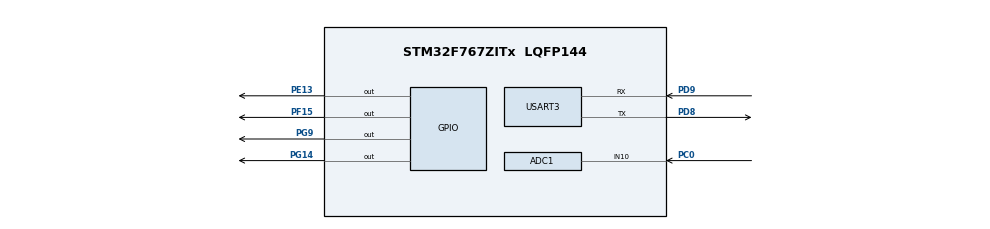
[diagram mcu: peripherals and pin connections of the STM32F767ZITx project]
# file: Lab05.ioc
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ADC1.Channel-0\#ChannelRegularConversion=ADC_CHANNEL_10
ADC1.ContinuousConvMode=ENABLE
ADC1.EOCSelection=ADC_EOC_SEQ_CONV
ADC1.NbrOfConversionFlag=1
ADC1.Rank-0\#ChannelRegularConversion=1
ADC1.SamplingTime-0\#ChannelRegularConversion=ADC_SAMPLETIME_3CYCLES
ADC1.master=1
Mcu.Family=STM32F7
Mcu.Name=STM32F767ZITx
Mcu.Package=LQFP144
NVIC.PriorityGroup=NVIC_PRIORITYGROUP_4
PC0.Signal=ADCx_IN10
PD8.Mode=Asynchronous
PD8.Signal=USART3_TX
PD9.Mode=Asynchronous
PD9.Signal=USART3_RX
PE13.Signal=GPIO_Output
PF15.Signal=GPIO_Output
PG14.Signal=GPIO_Output
PG9.Signal=GPIO_Output
ProjectManager.HeapSize=0x200
ProjectManager.StackSize=0x400
ProjectManager.TargetToolchain=STM32CubeIDE
RCC.HSE_VALUE=25000000
RCC.HSI_VALUE=16000000
RCC.LSE_VALUE=32768
RCC.USBFreq_Value=96000000
RCC.VCOOutputFreq_Value=192000000
SH.ADCx_IN10.0=ADC1_IN10,IN10
USART3.VirtualMode-Asynchronous=VM_ASYNC
board=custom

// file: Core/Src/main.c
/* USER CODE BEGIN Header */
/**
 ******************************************************************************
 * @file           : main.c
 * @brief          : Main program body
 ******************************************************************************
 * @attention
 *
 * Copyright (c) 2022 STMicroelectronics.
 * All rights reserved.
 *
 * This software is licensed under terms that can be found in the LICENSE file
 * in the root directory of this software component.
 * If no LICENSE file comes with this software, it is provided AS-IS.
 *
 ******************************************************************************
 */
/* USER CODE END Header */
#include "main.h"

/* USER CODE BEGIN Includes */
#include "stdio.h"
/* USER CODE END Includes */

ADC_HandleTypeDef hadc1;

UART_HandleTypeDef huart3;

/* USER CODE BEGIN PV */
volatile uint32_t adc_val = 0;
volatile uint32_t adc_avg_8 = 0;
volatile uint32_t adc_avg_16 = 0;
/* USER CODE END PV */

void SystemClock_Config(void);
static void MX_GPIO_Init(void);
static void MX_USART3_UART_Init(void);
static void MX_ADC1_Init(void);

/* USER CODE BEGIN 0 */
void displayHEX(uint32_t x) {
	char output[50];
	char vout[50];
	sprintf(output, "0x%08X ", x);
	sprintf(vout, "%.2f V\r\n", ((float) x * 3.3) / 4095);
	HAL_UART_Transmit(&huart3, (uint8_t*) "ADC1_CH10 ", 12, 100);
	HAL_UART_Transmit(&huart3, (uint8_t*) output, 12, 100);
	HAL_UART_Transmit(&huart3, (uint8_t*) "Vin = ", 12, 100);
	HAL_UART_Transmit(&huart3, (uint8_t*) vout, 12, 100);
	HAL_Delay(400);
}

int average_8(int x) {
	static int samples[8];
	static int i = 0;
	static int total = 0;

	total += x - samples[i];
	samples[i] = x;

	i = (i == 7 ? 0 : i + 1);

	return total >> 3;
}

int average_16(int x) {
	static int samples[16];
	static int i = 0;
	static int total = 0;

	total += x - samples[i];
	samples[i] = x;

	i = (i == 15 ? 0 : i + 1);

	return total >> 4;
}
/* USER CODE END 0 */

int main(void)
{

  /* MCU Configuration--------------------------------------------------------*/

  /* Reset of all peripherals, Initializes the Flash interface and the Systick. */
  HAL_Init();

  /* Configure the system clock */
  SystemClock_Config();

  /* Initialize all configured peripherals */
  MX_GPIO_Init();
  MX_USART3_UART_Init();
  MX_ADC1_Init();
  /* USER CODE BEGIN 2 */
	HAL_ADC_Start(&hadc1);
  /* USER CODE END 2 */

  /* Infinite loop */
	while (1) {

    /* USER CODE BEGIN 3 */
		while (HAL_ADC_PollForConversion(&hadc1, 100) != HAL_OK) {
		}
		adc_val = HAL_ADC_GetValue(&hadc1);
		displayHEX(adc_val);
		adc_avg_8 = average_8(adc_val);
		adc_avg_16 = average_16(adc_val);
		if (adc_val >= 4 * 3021 / 5) {
			HAL_GPIO_WritePin(GPIOG, GPIO_PIN_9, 0);
			HAL_GPIO_WritePin(GPIOG, GPIO_PIN_14, 0);
			HAL_GPIO_WritePin(GPIOF, GPIO_PIN_15, 0);
			HAL_GPIO_WritePin(GPIOE, GPIO_PIN_13, 0);
		} else if (adc_val >= 3 * 3021 / 5) {
			HAL_GPIO_WritePin(GPIOG, GPIO_PIN_9, 0);
			HAL_GPIO_WritePin(GPIOG, GPIO_PIN_14, 0);
			HAL_GPIO_WritePin(GPIOF, GPIO_PIN_15, 0);
			HAL_GPIO_WritePin(GPIOE, GPIO_PIN_13, 1);
		} else if (adc_val >= 2 * 3021 / 5) {
			HAL_GPIO_WritePin(GPIOG, GPIO_PIN_9, 0);
			HAL_GPIO_WritePin(GPIOG, GPIO_PIN_14, 0);
			HAL_GPIO_WritePin(GPIOF, GPIO_PIN_15, 1);
			HAL_GPIO_WritePin(GPIOE, GPIO_PIN_13, 1);
		} else if (adc_val >= 1 * 3021 / 5) {
			HAL_GPIO_WritePin(GPIOG, GPIO_PIN_9, 0);
			HAL_GPIO_WritePin(GPIOG, GPIO_PIN_14, 1);
			HAL_GPIO_WritePin(GPIOF, GPIO_PIN_15, 1);
			HAL_GPIO_WritePin(GPIOE, GPIO_PIN_13, 1);
		} else if (adc_val < 1 * 3021 / 5) {
			HAL_GPIO_WritePin(GPIOG, GPIO_PIN_9, 1);
			HAL_GPIO_WritePin(GPIOG, GPIO_PIN_14, 1);
			HAL_GPIO_WritePin(GPIOF, GPIO_PIN_15, 1);
			HAL_GPIO_WritePin(GPIOE, GPIO_PIN_13, 1);
		}
	}
  /* USER CODE END 3 */
}

void SystemClock_Config(void)
{
  RCC_OscInitTypeDef RCC_OscInitStruct = {0};
  RCC_ClkInitTypeDef RCC_ClkInitStruct = {0};

  /** Configure the main internal regulator output voltage
  */
  __HAL_RCC_PWR_CLK_ENABLE();
  __HAL_PWR_VOLTAGESCALING_CONFIG(PWR_REGULATOR_VOLTAGE_SCALE3);
  /** Initializes the RCC Oscillators according to the specified parameters
  * in the RCC_OscInitTypeDef structure.
  */
  RCC_OscInitStruct.OscillatorType = RCC_OSCILLATORTYPE_HSI;
  RCC_OscInitStruct.HSIState = RCC_HSI_ON;
  RCC_OscInitStruct.HSICalibrationValue = RCC_HSICALIBRATION_DEFAULT;
  RCC_OscInitStruct.PLL.PLLState = RCC_PLL_NONE;
  if (HAL_RCC_OscConfig(&RCC_OscInitStruct) != HAL_OK)
  {
    Error_Handler();
  }
  /** Initializes the CPU, AHB and APB buses clocks
  */
  RCC_ClkInitStruct.ClockType = RCC_CLOCKTYPE_HCLK|RCC_CLOCKTYPE_SYSCLK
                              |RCC_CLOCKTYPE_PCLK1|RCC_CLOCKTYPE_PCLK2;
  RCC_ClkInitStruct.SYSCLKSource = RCC_SYSCLKSOURCE_HSI;
  RCC_ClkInitStruct.AHBCLKDivider = RCC_SYSCLK_DIV1;
  RCC_ClkInitStruct.APB1CLKDivider = RCC_HCLK_DIV1;
  RCC_ClkInitStruct.APB2CLKDivider = RCC_HCLK_DIV1;

  if (HAL_RCC_ClockConfig(&RCC_ClkInitStruct, FLASH_LATENCY_0) != HAL_OK)
  {
    Error_Handler();
  }
}

static void MX_ADC1_Init(void)
{

  ADC_ChannelConfTypeDef sConfig = {0};

  /** Configure the global features of the ADC (Clock, Resolution, Data Alignment and number of conversion)
  */
  hadc1.Instance = ADC1;
  hadc1.Init.ClockPrescaler = ADC_CLOCK_SYNC_PCLK_DIV2;
  hadc1.Init.Resolution = ADC_RESOLUTION_12B;
  hadc1.Init.ScanConvMode = ADC_SCAN_DISABLE;
  hadc1.Init.ContinuousConvMode = ENABLE;
  hadc1.Init.DiscontinuousConvMode = DISABLE;
  hadc1.Init.ExternalTrigConvEdge = ADC_EXTERNALTRIGCONVEDGE_NONE;
  hadc1.Init.ExternalTrigConv = ADC_SOFTWARE_START;
  hadc1.Init.DataAlign = ADC_DATAALIGN_RIGHT;
  hadc1.Init.NbrOfConversion = 1;
  hadc1.Init.DMAContinuousRequests = DISABLE;
  hadc1.Init.EOCSelection = ADC_EOC_SEQ_CONV;
  if (HAL_ADC_Init(&hadc1) != HAL_OK)
  {
    Error_Handler();
  }
  /** Configure for the selected ADC regular channel its corresponding rank in the sequencer and its sample time.
  */
  sConfig.Channel = ADC_CHANNEL_10;
  sConfig.Rank = ADC_REGULAR_RANK_1;
  sConfig.SamplingTime = ADC_SAMPLETIME_3CYCLES;
  if (HAL_ADC_ConfigChannel(&hadc1, &sConfig) != HAL_OK)
  {
    Error_Handler();
  }

}

static void MX_USART3_UART_Init(void)
{

  huart3.Instance = USART3;
  huart3.Init.BaudRate = 115200;
  huart3.Init.WordLength = UART_WORDLENGTH_8B;
  huart3.Init.StopBits = UART_STOPBITS_1;
  huart3.Init.Parity = UART_PARITY_NONE;
  huart3.Init.Mode = UART_MODE_TX_RX;
  huart3.Init.HwFlowCtl = UART_HWCONTROL_NONE;
  huart3.Init.OverSampling = UART_OVERSAMPLING_16;
  huart3.Init.OneBitSampling = UART_ONE_BIT_SAMPLE_DISABLE;
  huart3.AdvancedInit.AdvFeatureInit = UART_ADVFEATURE_NO_INIT;
  if (HAL_UART_Init(&huart3) != HAL_OK)
  {
    Error_Handler();
  }

}

static void MX_GPIO_Init(void)
{
  GPIO_InitTypeDef GPIO_InitStruct = {0};

  /* GPIO Ports Clock Enable */
  __HAL_RCC_GPIOC_CLK_ENABLE();
  __HAL_RCC_GPIOF_CLK_ENABLE();
  __HAL_RCC_GPIOE_CLK_ENABLE();
  __HAL_RCC_GPIOD_CLK_ENABLE();
  __HAL_RCC_GPIOG_CLK_ENABLE();

  /*Configure GPIO pin Output Level */
  HAL_GPIO_WritePin(GPIOF, GPIO_PIN_15, GPIO_PIN_RESET);

  /*Configure GPIO pin Output Level */
  HAL_GPIO_WritePin(GPIOE, GPIO_PIN_13, GPIO_PIN_RESET);

  /*Configure GPIO pin Output Level */
  HAL_GPIO_WritePin(GPIOG, GPIO_PIN_9|GPIO_PIN_14, GPIO_PIN_RESET);

  /*Configure GPIO pin : PF15 */
  GPIO_InitStruct.Pin = GPIO_PIN_15;
  GPIO_InitStruct.Mode = GPIO_MODE_OUTPUT_PP;
  GPIO_InitStruct.Pull = GPIO_NOPULL;
  GPIO_InitStruct.Speed = GPIO_SPEED_FREQ_LOW;
  HAL_GPIO_Init(GPIOF, &GPIO_InitStruct);

  /*Configure GPIO pin : PE13 */
  GPIO_InitStruct.Pin = GPIO_PIN_13;
  GPIO_InitStruct.Mode = GPIO_MODE_OUTPUT_PP;
  GPIO_InitStruct.Pull = GPIO_NOPULL;
  GPIO_InitStruct.Speed = GPIO_SPEED_FREQ_LOW;
  HAL_GPIO_Init(GPIOE, &GPIO_InitStruct);

  /*Configure GPIO pins : PG9 PG14 */
  GPIO_InitStruct.Pin = GPIO_PIN_9|GPIO_PIN_14;
  GPIO_InitStruct.Mode = GPIO_MODE_OUTPUT_PP;
  GPIO_InitStruct.Pull = GPIO_NOPULL;
  GPIO_InitStruct.Speed = GPIO_SPEED_FREQ_LOW;
  HAL_GPIO_Init(GPIOG, &GPIO_InitStruct);

}

void Error_Handler(void)
{
	__disable_irq();
	while (1) {
	}
}
